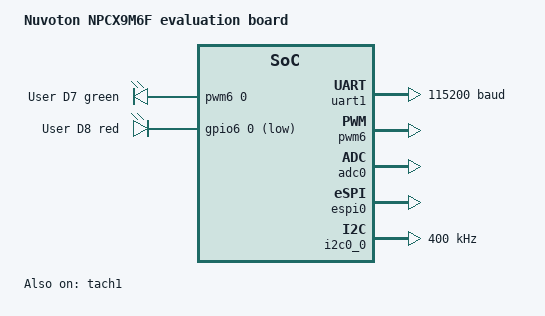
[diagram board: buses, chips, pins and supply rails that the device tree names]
/*
 * Copyright (c) 2021 Nuvoton Technology Corporation.
 *
 * SPDX-License-Identifier: Apache-2.0
 */

/dts-v1/;

#include <nuvoton/npcx9m6f.dtsi>

/ {
	model = "Nuvoton NPCX9M6F evaluation board";

	chosen {
		zephyr,sram = &sram0;
		zephyr,console = &uart1;
		zephyr,flash = &flash0;
	};

	aliases {
		/* For samples/basic/blinky_pwm */
		pwm-led0 = &pwm_led0_green;
		/* For gpio test suites */
		led0 = &gpio_led_red;
		/* For pwm test suites */
		pwm-0 = &pwm6;
		/* For i2c test suites */
		i2c-0 = &i2c0_0;
		/* For watchdog sample */
		watchdog0 = &twd0;
	};

	leds-pwm {
		compatible = "pwm-leds";
		pwm_led0_green: pwm_led_0 {
			pwms = <&pwm6 0 PWM_POLARITY_INVERTED>;
			label = "User D7 green";
		};
	};

	leds-gpio {
		compatible = "gpio-leds";
		gpio_led_red: led_0 {
			gpios = <&gpio6 0 GPIO_ACTIVE_LOW>;
			label = "User D8 red";
		};
	};

	power-states {
		suspend_to_idle0: suspend-to-idle0 {
			compatible = "zephyr,power-state";
			power-state-name = "suspend-to-idle";
			substate-id = <0>;
			min-residency-us = <1000>;
		};

		suspend_to_idle1: suspend-to-idle1 {
			compatible = "zephyr,power-state";
			power-state-name = "suspend-to-idle";
			substate-id = <1>;
			min-residency-us = <201000>;
		};
	};

	vsby-psl-in-list {
		psl-in-pads = <&psl_in1>; /* Use PSL_IN1 as detection pins */
	};
};

&cpu0 {
	cpu-power-states = <&suspend_to_idle0 &suspend_to_idle1>;
};

&psl_in1 {
	/* A falling edge detection type for PSL_IN1 */
	flag = <NPCX_PSL_FALLING_EDGE>;
};

/* Overwirte default device properties with overlays in board dt file here. */
&uart1 {
	status = "okay";
	current-speed = <115200>;
	/* Use UART1_SL2 ie. PIN64.65 */
	pinctrl-0 = <&altj_cr_sin1_sl2 &altj_cr_sout1_sl2>;
};

&pwm6 {
	drive-open-drain;
	status = "okay";
};

&adc0 {
	/* ADC pinmux is changed only if related channel is configured. */
	status = "okay";
};

&espi0 {
	status = "okay";
};

&i2c0_0 {
	status = "okay";
	clock-frequency = <I2C_BITRATE_FAST>;
};

&tach1 {
	status = "okay";
	pinctrl-0 = <&alt3_ta1_sl1>; /* Use TA1_SL1 (PIN40) as input pin */
	port = <NPCX_TACH_PORT_A>; /* port-A is selected */
	sample-clk = <NPCX_TACH_FREQ_LFCLK>; /* Use LFCLK as sampling clock */
	pulses-per-round = <1>; /* number of pulses per round of encoder */
};
